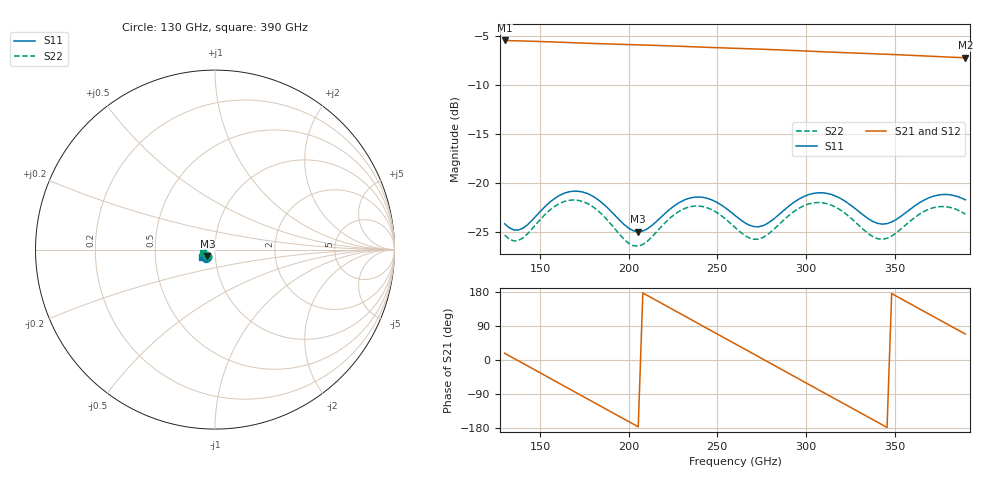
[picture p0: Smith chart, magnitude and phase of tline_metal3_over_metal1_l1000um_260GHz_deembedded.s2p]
! Created with skrf 2.0.1 (http://scikit-rf.org).
# GHz S DB R 50.0
!freq dBS11 angS11 dBS21 angS21 dBS12 angS12 dBS22 angS22
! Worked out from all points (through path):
!   101 points, 130 GHz to 390 GHz, reference 50 ohm
!   highest |S21| = -5.50 dB at 130 GHz (marker M1); lowest = -7.3 dB at 390 GHz (marker M2)
!   group delay of S21, straight-line fit = 7.15 ps
!   lowest |S11| = -25.0 dB at 205.4 GHz (marker M3), VSWR 1.12, Z = 45.9 - j3.48 ohm
!   |S11| at or under -10 dB: start of sweep to end of sweep
!   |S22| runs from -26.4 to -21.7 dB; largest |S21 - S12| = 6.1e-14
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130  -24.15 -138.2  -5.50 17.8  -5.50 17.8  -25.30 -141.7
137.8  -24.79 -127.2  -5.54 -2.2  -5.54 -2.2  -25.85 -129.6
148.2  -23.27 -117.7  -5.60 -29.0  -5.60 -29.0  -24.11 -120.8
161.2  -21.24 -124.2  -5.68 -62.6  -5.68 -62.6  -22.07 -129.2
174.2  -20.93 -138.1  -5.77 -96.1  -5.77 -96.1  -21.90 -144.5
192.4  -23.32 -149.5  -5.88 -142.9  -5.88 -142.9  -24.70 -156.3
205.4  -24.97 -138.0  -5.95 -176.4  -5.95 -176.4  -26.43 -141.9
218.4  -23.46 -126.7  -6.02 150.0  -6.02 150.0  -24.45 -130.7
228.8  -21.96 -130.1  -6.09 123.2  -6.09 123.2  -22.84 -135.8
239.2  -21.43 -138.6  -6.16 96.4  -6.16 96.4  -22.34 -145.8
249.6  -21.95 -146.7  -6.23 69.6  -6.23 69.6  -22.99 -155.0
260  -23.30 -149.3  -6.30 42.9  -6.30 42.9  -24.52 -157.8
270.4  -24.43 -141.9  -6.36 16.1  -6.36 16.1  -25.72 -149.5
280.8  -23.81 -131.5  -6.43 -10.8  -6.43 -10.8  -24.90 -138.7
291.2  -22.24 -130.1  -6.50 -37.6  -6.50 -37.6  -23.19 -138.6
304.2  -21.06 -138.4  -6.61 -71.1  -6.61 -71.1  -22.03 -148.8
322.4  -21.89 -151.9  -6.74 -117.8  -6.74 -117.8  -23.12 -164.1
335.4  -23.66 -150.9  -6.83 -151.2  -6.83 -151.2  -25.18 -162.7
348.4  -23.97 -138.4  -6.92 175.3  -6.92 175.3  -25.40 -148.4
358.8  -22.68 -133.7  -7.01 148.5  -7.01 148.5  -23.89 -144.4
371.8  -21.35 -138.9  -7.12 115.1  -7.12 115.1  -22.52 -151.7
390  -21.71 -151.3  -7.27 68.4  -7.27 68.4  -23.17 -166.3
